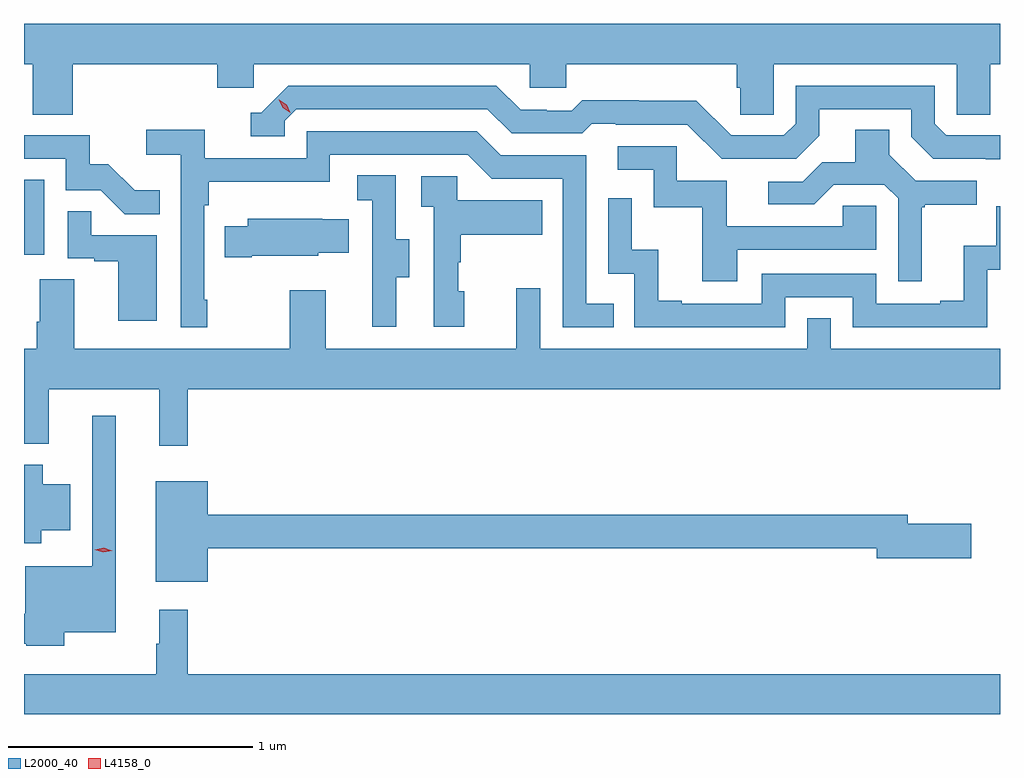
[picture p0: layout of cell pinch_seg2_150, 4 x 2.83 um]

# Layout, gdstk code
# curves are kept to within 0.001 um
import gdstk
lib = gdstk.Library(unit=1e-6, precision=1e-09)
def R(c, l, rs):  # rectangles x0, y0, x1, y1
    for r in rs: c.add(gdstk.rectangle(r[:2], r[2:], *l))
def P(c, l, *ps):  # polygons
    for p in ps: c.add(gdstk.Polygon(p, *l))
L2000_40 = (2000, 40)
L4158_0 = (4158, 0)

pinch_seg2_150 = lib.new_cell('pinch_seg2_150')
R(pinch_seg2_150, L2000_40, [(1124.664,630.87,1124.746,631.177)])
P(pinch_seg2_150, L2000_40, [(1124.864,631.652),(1125.455,631.652),(1125.455,631.554),(1125.606,631.554),(1125.606,631.652),(1126.737,631.652),(1126.737,631.554),(1126.887,631.554),(1126.887,631.652),(1127.585,631.652),(1127.585,631.554),(1127.599,631.554),(1127.599,631.444),(1127.736,631.444),(1127.736,631.652),(1128.486,631.652),(1128.486,631.444),(1128.625,631.444),(1128.625,631.652),(1128.664,631.652),(1128.664,631.816),(1124.664,631.816),(1124.664,631.652),(1124.699,631.652),(1124.699,631.444),(1124.864,631.444)],
  [(1128.664,631.359),(1128.444,631.359),(1128.396,631.407),(1128.396,631.563),(1127.826,631.563),(1127.826,631.407),(1127.778,631.359),(1127.562,631.359),(1127.42,631.501),(1127.184,631.501),(1127.184,631.504),(1126.951,631.504),(1126.909,631.461),(1126.806,631.461),(1126.806,631.464),(1126.699,631.464),(1126.6,631.563),(1125.747,631.563),(1125.636,631.452),(1125.593,631.452),(1125.593,631.356),(1125.732,631.356),(1125.732,631.419),(1125.78,631.467),(1126.563,631.467),(1126.662,631.368),(1126.951,631.368),(1126.99,631.407),(1127.089,631.407),(1127.089,631.404),(1127.382,631.404),(1127.523,631.263),(1127.829,631.263),(1127.923,631.357),(1127.923,631.467),(1128.3,631.467),(1128.3,631.353),(1128.39,631.263),(1128.664,631.262)],
  [(1125.415,630.685),(1125.402,630.685),(1125.402,631.073),(1125.422,631.073),(1125.422,631.169),(1125.918,631.169),(1125.918,631.281),(1126.482,631.281),(1126.581,631.182),(1126.872,631.182),(1126.872,630.573),(1127.081,630.573),(1127.081,630.669),(1126.968,630.669),(1126.968,631.278),(1126.618,631.278),(1126.519,631.377),(1125.822,631.377),(1125.822,631.266),(1125.404,631.266),(1125.404,631.382),(1125.165,631.382),(1125.165,631.28),(1125.306,631.28),(1125.306,630.573),(1125.415,630.573)],
  [(1128.343,631.065),(1128.355,631.065),(1128.355,631.076),(1128.568,631.076),(1128.568,631.173),(1128.318,631.173),(1128.211,631.28),(1128.211,631.382),(1128.071,631.382),(1128.071,631.25),(1127.936,631.25),(1127.856,631.17),(1127.715,631.17),(1127.715,631.077),(1127.902,631.077),(1127.983,631.158),(1128.189,631.158),(1128.246,631.101),(1128.246,630.762),(1128.343,630.762)],
  [(1125.221,631.135),(1125.117,631.135),(1125.01,631.242),(1124.934,631.242),(1124.934,631.359),(1124.664,631.359),(1124.664,631.263),(1124.835,631.263),(1124.835,631.134),(1124.979,631.134),(1125.077,631.036),(1125.221,631.036)],
  [(1127.587,630.891),(1128.156,630.891),(1128.156,631.071),(1128.019,631.071),(1128.019,630.987),(1127.545,630.987),(1127.545,631.173),(1127.34,631.173),(1127.34,631.314),(1127.097,631.314),(1127.097,631.218),(1127.244,631.218),(1127.244,631.065),(1127.443,631.065),(1127.443,630.762),(1127.587,630.762)],
  [(1126.189,630.778),(1126.243,630.778),(1126.243,630.933),(1126.188,630.933),(1126.188,631.196),(1126.029,631.196),(1126.029,631.093),(1126.092,631.093),(1126.092,630.789),(1126.091,630.789),(1126.091,630.576),(1126.189,630.576)],
  [(1126.468,630.72),(1126.443,630.72),(1126.443,630.839),(1126.453,630.839),(1126.453,630.953),(1126.787,630.953),(1126.787,631.093),(1126.44,631.093),(1126.44,631.191),(1126.293,631.191),(1126.293,631.067),(1126.344,631.067),(1126.344,630.576),(1126.468,630.576)],
  [(1127.784,630.696),(1128.06,630.696),(1128.06,630.573),(1128.612,630.573),(1128.612,630.809),(1128.664,630.809),(1128.664,631.068),(1128.648,631.068),(1128.648,630.907),(1128.515,630.907),(1128.515,630.682),(1128.419,630.682),(1128.419,630.669),(1128.156,630.669),(1128.156,630.792),(1127.688,630.792),(1127.688,630.669),(1127.359,630.669),(1127.359,630.682),(1127.264,630.682),(1127.264,630.89),(1127.154,630.89),(1127.154,631.102),(1127.058,631.102),(1127.058,630.792),(1127.166,630.792),(1127.166,630.573),(1127.784,630.573)],
  [(1125.208,630.951),(1124.939,630.951),(1124.939,631.049),(1124.844,631.049),(1124.844,630.855),(1124.951,630.855),(1124.951,630.843),(1125.05,630.843),(1125.05,630.6),(1125.208,630.6)],
  [(1125.598,630.866),(1125.87,630.866),(1125.87,630.878),(1125.995,630.878),(1125.995,631.015),(1125.887,631.015),(1125.887,631.018),(1125.581,631.018),(1125.581,630.988),(1125.487,630.988),(1125.487,630.859),(1125.598,630.859)],
  [(1125.335,630.32),(1128.664,630.32),(1128.664,630.484),(1127.97,630.484),(1127.97,630.611),(1127.874,630.611),(1127.874,630.484),(1126.779,630.484),(1126.779,630.733),(1126.682,630.733),(1126.682,630.484),(1125.901,630.484),(1125.901,630.724),(1125.754,630.724),(1125.754,630.484),(1124.869,630.484),(1124.869,630.77),(1124.729,630.77),(1124.729,630.596),(1124.717,630.596),(1124.717,630.484),(1124.664,630.484),(1124.664,630.095),(1124.765,630.095),(1124.765,630.32),(1125.218,630.32),(1125.218,630.087),(1125.335,630.087)],
  [(1124.829,629.324),(1125.04,629.324),(1125.04,630.211),(1124.943,630.211),(1124.943,629.593),(1124.669,629.593),(1124.669,629.398),(1124.664,629.398),(1124.664,629.276),(1124.673,629.276),(1124.673,629.267),(1124.829,629.267)],
  [(1124.734,629.741),(1124.854,629.741),(1124.854,629.929),(1124.74,629.929),(1124.74,630.01),(1124.664,630.01),(1124.664,629.687),(1124.734,629.687)],
  [(1125.418,629.668),(1128.158,629.668),(1128.158,629.626),(1128.547,629.626),(1128.547,629.768),(1128.286,629.768),(1128.286,629.804),(1125.418,629.804),(1125.418,629.941),(1125.203,629.941),(1125.203,629.531),(1125.418,629.531)],
  [(1128.664,629.152),(1125.335,629.152),(1125.335,629.416),(1125.218,629.416),(1125.218,629.276),(1125.207,629.276),(1125.207,629.152),(1124.664,629.152),(1124.664,628.988),(1128.664,628.988)])
P(pinch_seg2_150, L4158_0, [(1125.755,631.453),(1125.725,631.473),(1125.709,631.505),(1125.709,631.506),(1125.71,631.506),(1125.74,631.486),(1125.756,631.453),(1125.756,631.453)],
  [(1124.989,629.65),(1124.954,629.661),(1124.954,629.662),(1124.954,629.662),(1124.99,629.67),(1125.025,629.658),(1125.025,629.658),(1125.025,629.658)])

lib.write_gds('pinch_seg2_150.gds')
